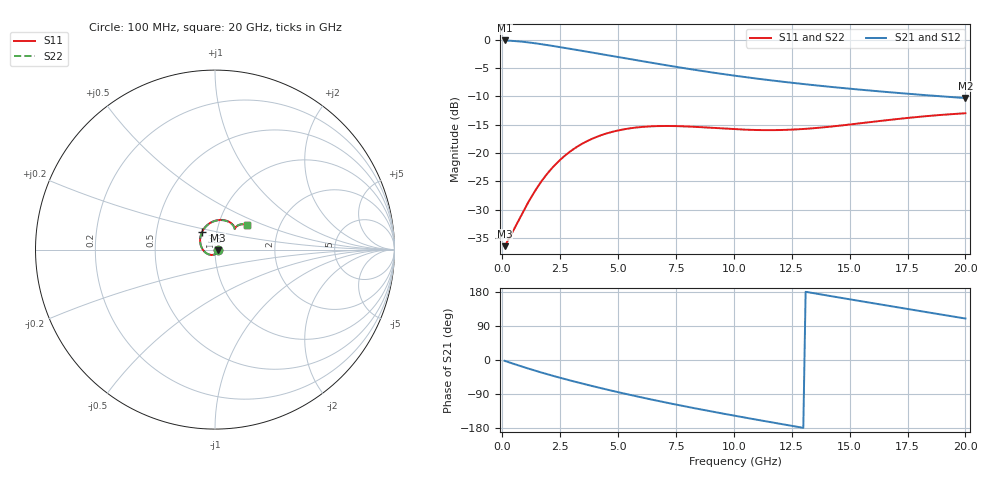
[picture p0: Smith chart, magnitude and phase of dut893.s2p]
! Touchstone file exported from HFSS 2024.1.0
!  File:  C:/UserFiles/LocalFiles/RDL_TSV_Batchsim/temp_RDL_TSV_893_1779932920.aedt
!  Generated:  10:04:17 AM May 28, 2026
!  Design:  RDL_TSV
!  Project:  temp_RDL_TSV_893_1779932920
!  Setup:  Setup1
!  Solution:  Sweep
! Variables:
!  dtsv = 9.52um
!  hbump = 3um
!  htsv = 94.61um
!  ldown = 448.96um
!  lrdl = 587.18um
!  p = 40
!  p1 = 41.48um
!  rhole = 10um
!  subl = 3695.6um
!  t = 450um
!  tdown = 2.84um
!  trdl = 4.69um
!  viad = 10um
!  wdown = 22.41um
!  wrdl = 28.76um
!  xbump = 18um
# GHz S MA R 50.000000
! Terminal data exported
! Port[1] = TM1_1_T1
! Port[2] = TM1_4_T1
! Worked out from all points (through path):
!   200 points, 100 MHz to 20 GHz, reference 50 ohm
!   highest |S21| = -0.14 dB at 100 MHz (marker M1); lowest = -10.3 dB at 20 GHz (marker M2)
!   group delay of S21, straight-line fit = 33.1 ps
!   lowest |S11| = -36.4 dB at 100 MHz (marker M3), VSWR 1.03, Z = 51.5 - j0.297 ohm
!   |S11| at or under -10 dB: start of sweep to end of sweep
!   |S22| runs from -36.4 to -13.0 dB; largest |S21 - S12| = 4.7e-14
!   S11 on the Smith chart (normalised r, x): 100 MHz: 1.03, -0.01; 3.5 GHz: 0.85, +0.17; 20 GHz: 1.37, +0.39
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0.1  0.01511 -11.0  0.9845 -2.2  0.9845 -2.2  0.01511 -11.0
! Gamma 0 0 0 0
! Port Impedance 50 0 50 0
0.5  0.0212 -64.6  0.9739 -10.4  0.9739 -10.4  0.02122 -64.6
0.9  0.03039 -107.5  0.958 -18.3  0.958 -18.3  0.0304 -107.4
1.4  0.04591 -146.4  0.931 -27.8  0.931 -27.8  0.04586 -146.2
1.8  0.06042 -170.0  0.9058 -35.0  0.9058 -35.0  0.06029 -169.8
2.2  0.07575 170.8  0.8794 -42.0  0.8794 -42.0  0.07551 171.0
2.6  0.09108 154.6  0.8528 -48.6  0.8528 -48.6  0.09073 154.8
3.5  0.1225 125.9  0.7942 -62.9  0.7942 -62.9  0.1219 126.1
4.2  0.1421 108.6  0.7507 -73.4  0.7507 -73.4  0.1413 108.8
5  0.1583 92.6  0.7035 -84.9  0.7035 -84.9  0.1573 92.7
5.9  0.1691 78.3  0.6538 -97.2  0.6538 -97.2  0.1679 78.4
6.8  0.1732 67.1  0.6083 -108.9  0.6083 -108.9  0.1719 67.3
7.6  0.1728 59.5  0.5717 -118.8  0.5717 -118.8  0.1714 59.7
8.4  0.1701 53.8  0.5386 -128.4  0.5386 -128.4  0.1687 54.0
9.2  0.1663 49.8  0.509 -137.7  0.509 -137.7  0.1649 50.1
10.1  0.1623 47.2  0.4795 -147.8  0.4795 -147.8  0.1609 47.5
11.7  0.1594 46.0  0.4356 -165.2  0.4356 -165.2  0.1582 46.4
13.4  0.1654 46.8  0.3983 176.8  0.3983 176.8  0.1645 47.3
15.1  0.1795 46.8  0.3681 159.1  0.3681 159.1  0.1789 47.3
16.7  0.196 45.0  0.3443 142.8  0.3443 142.8  0.1956 45.4
18.3  0.2116 41.8  0.3241 126.5  0.3241 126.5  0.2114 42.1
20  0.2245 37.4  0.3056 109.5  0.3056 109.5  0.2243 37.7
